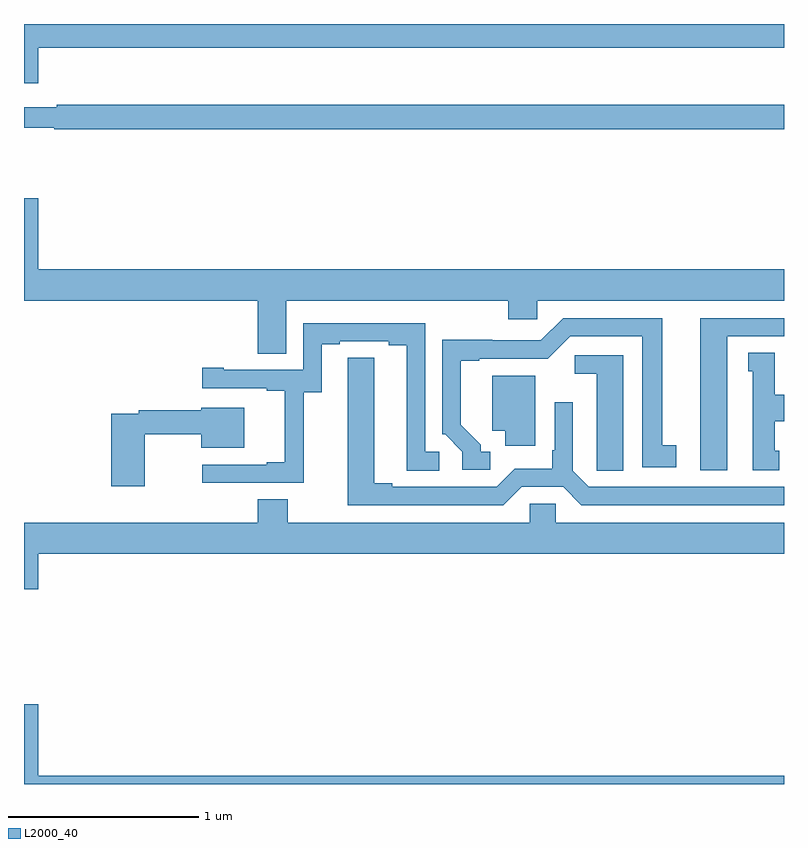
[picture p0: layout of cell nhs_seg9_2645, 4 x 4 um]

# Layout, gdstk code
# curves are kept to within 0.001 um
import gdstk
lib = gdstk.Library(unit=1e-6, precision=1e-09)
def P(c, l, *ps):  # polygons
    for p in ps: c.add(gdstk.Polygon(p, *l))
L2000_40 = (2000, 40)

nhs_seg9_2645 = lib.new_cell('nhs_seg9_2645')
P(nhs_seg9_2645, L2000_40, [(265,1240.5),(261,1240.5),(261,1240.188),(261.076,1240.188),(261.076,1240.376),(265,1240.376)],
  [(265,1240.075),(261.172,1240.075),(261.172,1240.062),(261,1240.062),(261,1239.954),(261.158,1239.954),(261.158,1239.946),(265,1239.946)],
  [(262.381,1239.044),(263.549,1239.044),(263.549,1238.946),(263.7,1238.946),(263.7,1239.044),(265,1239.044),(265,1239.208),(261.076,1239.208),(261.076,1239.583),(261,1239.583),(261,1239.044),(262.229,1239.044),(262.229,1238.764),(262.381,1238.764)],
  [(263.455,1238.25),(263.404,1238.25),(263.404,1238.285),(263.299,1238.39),(263.299,1238.727),(263.395,1238.727),(263.395,1238.739),(263.757,1238.739),(263.874,1238.856),(264.254,1238.856),(264.254,1238.166),(264.433,1238.166),(264.433,1238.282),(264.358,1238.282),(264.358,1238.952),(263.838,1238.952),(263.721,1238.835),(263.465,1238.835),(263.465,1238.837),(263.202,1238.837),(263.202,1238.34),(263.217,1238.34),(263.307,1238.25),(263.307,1238.154),(263.455,1238.154)],
  [(264.7,1238.856),(265,1238.856),(265,1238.952),(264.56,1238.952),(264.56,1238.151),(264.7,1238.151)],
  [(262.473,1238.563),(262.567,1238.563),(262.567,1238.814),(262.663,1238.814),(262.663,1238.829),(262.919,1238.829),(262.919,1238.809),(263.015,1238.809),(263.015,1238.149),(263.185,1238.149),(263.185,1238.25),(263.112,1238.25),(263.112,1238.925),(262.47,1238.925),(262.47,1238.679),(262.051,1238.679),(262.051,1238.692),(261.939,1238.692),(261.939,1238.583),(262.277,1238.583),(262.277,1238.571),(262.373,1238.571),(262.373,1238.194),(262.277,1238.194),(262.277,1238.181),(261.939,1238.181),(261.939,1238.085),(262.473,1238.085)],
  [(264.976,1238.253),(264.952,1238.253),(264.952,1238.408),(265,1238.408),(265,1238.548),(264.952,1238.548),(264.952,1238.771),(264.812,1238.771),(264.812,1238.673),(264.836,1238.673),(264.836,1238.151),(264.976,1238.151)],
  [(264.154,1238.757),(263.898,1238.757),(263.898,1238.66),(264.014,1238.66),(264.014,1238.257),(264.015,1238.257),(264.015,1238.149),(264.154,1238.149)],
  [(263.619,1238.064),(263.837,1238.064),(263.933,1237.968),(265,1237.968),(265,1238.064),(263.973,1238.064),(263.889,1238.148),(263.889,1238.509),(263.793,1238.509),(263.793,1238.257),(263.781,1238.257),(263.781,1238.16),(263.583,1238.16),(263.487,1238.064),(262.939,1238.064),(262.939,1238.084),(262.843,1238.084),(262.843,1238.744),(262.704,1238.744),(262.703,1237.968),(263.523,1237.968)],
  [(263.692,1238.65),(263.465,1238.65),(263.465,1238.36),(263.534,1238.36),(263.534,1238.28),(263.692,1238.28)],
  [(261.636,1238.34),(261.932,1238.34),(261.932,1238.27),(262.159,1238.27),(262.159,1238.479),(261.932,1238.479),(261.932,1238.468),(261.604,1238.468),(261.604,1238.448),(261.458,1238.448),(261.458,1238.067),(261.636,1238.067)],
  [(261.076,1237.712),(265,1237.712),(265,1237.876),(263.799,1237.876),(263.799,1237.974),(263.661,1237.974),(263.661,1237.876),(262.389,1237.876),(262.389,1238),(262.229,1238),(262.229,1237.876),(261,1237.876),(261,1237.524),(261.076,1237.524)],
  [(265,1236.544),(261.076,1236.544),(261.076,1236.919),(261,1236.919),(261,1236.5),(265,1236.5)])

lib.write_gds('nhs_seg9_2645.gds')
